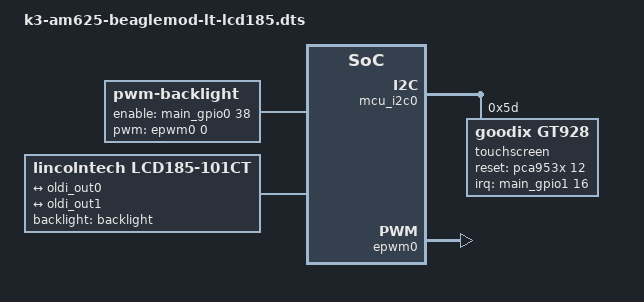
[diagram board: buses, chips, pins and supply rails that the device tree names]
// SPDX-License-Identifier: GPL-2.0
/*
 * Copyright (C) 2022 Texas Instruments Incorporated - https://www.ti.com/
 */

/dts-v1/;
/plugin/;

#include <dt-bindings/gpio/gpio.h>
#include <dt-bindings/interrupt-controller/irq.h>

/ {
	fragment@101 {
		target-path = "/";

		__overlay__ {
			backlight: backlight {
				pinctrl-names = "default";
				pinctrl-0 = <&backlight_pins_default>;

				compatible = "pwm-backlight";

				brightness-levels = <0 4 8 16 32 64 128 255>;
				default-brightness-level = <6>;

				enable-gpios = <&main_gpio0 38 GPIO_ACTIVE_HIGH>;
				pwms = <&epwm0 0 20000 0>;
			};

			lcd {
				compatible = "lincolntech,lcd185-101ct";
				backlight = <&backlight>;

				/*
				* Note that the OLDI TX 0 transmits the odd set of pixels
				* while the OLDI TX 1 transmits the even set. This is a
				* fixed configuration in the IP integration and is not
				* changeable. The properties, "dual-lvds-odd-pixels" and
				* "dual-lvds-even-pixels" have been used to merely
				* identify if a Dual Link configuration is required.
				* Swapping them will not make any difference.
				*/
				port@0 {
					dual-lvds-odd-pixels;
					lcd_in0: endpoint {
						remote-endpoint = <&oldi_out0>;
					};
				};

				port@1 {
					dual-lvds-even-pixels;
					lcd_in1: endpoint {
						remote-endpoint = <&oldi_out1>;
					};
				};
			};
		};
	};
};

&dss {
	pinctrl-0 = <&hdmi_pins_default &oldi_pins_default>;
};

&dss_ports {
	#address-cells = <1>;
	#size-cells = <0>;

	/* VP1: LVDS Output (OLDI TX 0) */
	port@0 {
		reg = <0>;
		oldi_out0: endpoint {
			remote-endpoint = <&lcd_in0>;
		};
	};

	/* VP1: LVDS Output (OLDI TX 1) */
	port@2 {
		reg = <2>;
		oldi_out1: endpoint {
			remote-endpoint = <&lcd_in1>;
		};
	};
};

&mcu_i2c0 {
	status = "okay";

	touchscreen@5d {
	        compatible = "goodix,gt928";
	        reg = <0x5d>;

	        pinctrl-names = "default";
	        pinctrl-0 = <&touchscreen_pins_default>;

	        interrupt-parent = <&main_gpio1>;
	        interrupts = <16 IRQ_TYPE_EDGE_FALLING>;

		touchscreen-size-x = <1920>;
		touchscreen-size-y = <1200>;

		reset-gpios = <&pca953x 12 GPIO_ACTIVE_HIGH>;
		irq-gpios = <&main_gpio1 16 GPIO_ACTIVE_HIGH>;
	};
};

&epwm0 {
	status = "okay";
};
